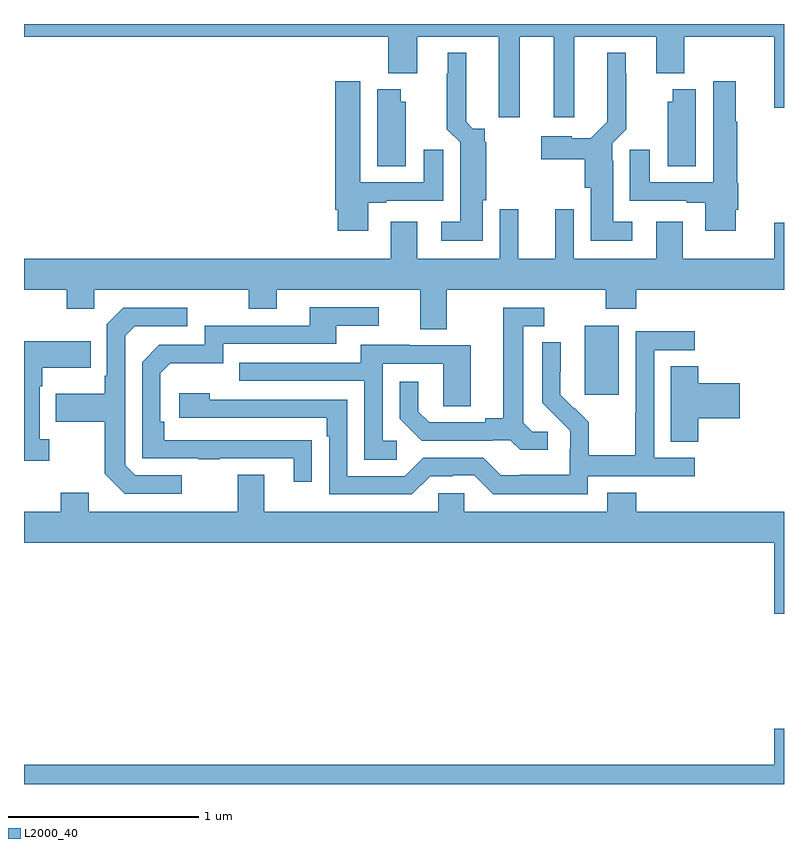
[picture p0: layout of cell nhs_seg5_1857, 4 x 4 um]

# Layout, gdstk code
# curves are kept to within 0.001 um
import gdstk
lib = gdstk.Library(unit=1e-6, precision=1e-09)
def R(c, l, rs):  # rectangles x0, y0, x1, y1
    for r in rs: c.add(gdstk.rectangle(r[:2], r[2:], *l))
def P(c, l, *ps):  # polygons
    for p in ps: c.add(gdstk.Polygon(p, *l))
L2000_40 = (2000, 40)

nhs_seg5_1857 = lib.new_cell('nhs_seg5_1857')
R(nhs_seg5_1857, L2000_40, [(223.952,882.849,224.131,883.21)])
P(nhs_seg5_1857, L2000_40, [(221,884.732),(222.917,884.732),(222.917,884.54),(223.069,884.54),(223.069,884.732),(223.499,884.732),(223.499,884.307),(223.609,884.307),(223.609,884.732),(223.787,884.732),(223.787,884.307),(223.897,884.307),(223.897,884.732),(224.327,884.732),(224.327,884.54),(224.475,884.54),(224.475,884.732),(224.948,884.732),(224.948,884.358),(225,884.358),(225,884.799),(221,884.799)],
  [(223.414,883.872),(223.432,883.872),(223.432,884.177),(223.426,884.183),(223.426,884.248),(223.362,884.248),(223.327,884.284),(223.327,884.647),(223.229,884.647),(223.229,884.537),(223.225,884.537),(223.225,884.246),(223.295,884.176),(223.295,883.759),(223.197,883.759),(223.197,883.658),(223.414,883.658)],
  [(224.2,883.759),(224.101,883.759),(224.101,884.078),(224.097,884.078),(224.097,884.172),(224.171,884.246),(224.171,884.537),(224.167,884.537),(224.167,884.647),(224.069,884.647),(224.07,884.284),(223.983,884.197),(223.884,884.197),(223.884,884.209),(223.722,884.209),(223.722,884.087),(223.952,884.087),(223.952,883.938),(223.982,883.938),(223.982,883.658),(224.2,883.658)],
  [(224.746,883.822),(224.759,883.822),(224.759,883.962),(224.754,883.962),(224.754,884.284),(224.746,884.284),(224.746,884.497),(224.627,884.497),(224.627,883.965),(224.293,883.965),(224.293,884.137),(224.189,884.137),(224.189,883.869),(224.489,883.869),(224.489,883.857),(224.585,883.857),(224.585,883.71),(224.746,883.71)],
  [(222.811,883.857),(222.907,883.857),(222.907,883.869),(223.207,883.869),(223.207,884.137),(223.103,884.137),(223.103,883.965),(222.769,883.965),(222.769,884.497),(222.638,884.497),(222.638,883.822),(222.65,883.822),(222.65,883.71),(222.811,883.71)],
  [(223.009,884.391),(222.982,884.391),(222.982,884.455),(222.86,884.455),(222.86,884.05),(223.009,884.05)],
  [(224.536,884.455),(224.414,884.455),(224.414,884.391),(224.387,884.391),(224.387,884.05),(224.536,884.05)],
  [(223.225,883.4),(224.062,883.4),(224.062,883.301),(224.222,883.301),(224.222,883.4),(225,883.4),(225,883.753),(224.948,883.753),(224.948,883.564),(224.467,883.564),(224.467,883.759),(224.327,883.759),(224.327,883.564),(223.893,883.564),(223.893,883.825),(223.796,883.825),(223.796,883.564),(223.601,883.564),(223.601,883.825),(223.503,883.825),(223.503,883.564),(223.069,883.564),(223.069,883.759),(222.929,883.759),(222.929,883.564),(221,883.564),(221,883.4),(221.224,883.4),(221.224,883.301),(221.37,883.301),(221.37,883.4),(222.184,883.4),(222.184,883.301),(222.331,883.301),(222.331,883.4),(223.085,883.4),(223.085,883.192),(223.225,883.192)],
  [(222.515,882.608),(221.738,882.609),(221.738,882.706),(221.718,882.706),(221.718,882.96),(221.771,883.013),(222.048,883.013),(222.048,883.116),(222.643,883.116),(222.643,883.212),(222.868,883.212),(222.868,883.308),(222.503,883.308),(222.503,883.212),(221.952,883.212),(221.952,883.11),(221.712,883.11),(221.622,883.02),(221.622,882.513),(221.917,882.513),(221.917,882.508),(222.029,882.508),(222.029,882.513),(222.419,882.513),(222.419,882.39),(222.515,882.39)],
  [(221.83,882.423),(221.586,882.423),(221.532,882.477),(221.532,883.158),(221.583,883.209),(221.86,883.209),(221.86,883.305),(221.523,883.305),(221.436,883.218),(221.436,882.949),(221.424,882.949),(221.424,882.853),(221.167,882.853),(221.167,882.706),(221.424,882.706),(221.424,882.433),(221.529,882.327),(221.83,882.327)],
  [(223.756,882.654),(223.674,882.654),(223.627,882.701),(223.627,883.209),(223.738,883.209),(223.738,883.305),(223.523,883.305),(223.523,882.725),(223.427,882.725),(223.427,882.702),(223.132,882.702),(223.075,882.759),(223.075,882.916),(222.978,882.916),(222.978,882.722),(223.094,882.606),(223.466,882.606),(223.466,882.609),(223.56,882.609),(223.612,882.557),(223.756,882.557)],
  [(223.968,882.42),(224.53,882.42),(224.53,882.516),(224.316,882.516),(224.316,883.083),(224.53,883.083),(224.53,883.182),(224.22,883.182),(224.22,882.752),(224.218,882.752),(224.218,882.529),(223.973,882.529),(223.973,882.703),(223.896,882.78),(223.893,882.777),(223.823,882.848),(223.824,883.124),(223.728,883.124),(223.728,882.806),(223.874,882.658),(223.874,882.561),(223.872,882.561),(223.872,882.427),(223.609,882.427),(223.609,882.423),(223.509,882.423),(223.416,882.516),(223.101,882.516),(223.005,882.42),(222.702,882.42),(222.702,882.822),(221.978,882.822),(221.978,882.856),(221.817,882.856),(221.817,882.726),(222.593,882.726),(222.593,882.629),(222.606,882.629),(222.606,882.324),(223.041,882.324),(223.137,882.42),(223.256,882.42),(223.256,882.423),(223.371,882.423),(223.471,882.323),(223.968,882.323)],
  [(221.134,882.614),(221.082,882.614),(221.082,882.893),(221.095,882.893),(221.095,882.989),(221.351,882.989),(221.351,883.129),(221,883.129),(221,882.501),(221.134,882.501)],
  [(222.961,882.606),(222.888,882.606),(222.888,883.011),(223.206,883.011),(223.206,882.787),(223.351,882.787),(223.351,883.107),(223.027,883.107),(223.027,883.111),(222.773,883.111),(222.773,883.017),(222.133,883.017),(222.133,882.921),(222.792,882.921),(222.792,882.505),(222.961,882.505)],
  [(224.549,882.725),(224.767,882.725),(224.767,882.908),(224.549,882.908),(224.549,882.998),(224.405,882.998),(224.405,882.601),(224.549,882.601)],
  [(225,882.232),(224.222,882.232),(224.222,882.331),(224.069,882.331),(224.069,882.232),(223.317,882.232),(223.317,882.33),(223.179,882.33),(223.179,882.232),(222.265,882.232),(222.265,882.427),(222.125,882.427),(222.125,882.232),(221.341,882.232),(221.341,882.331),(221.194,882.331),(221.194,882.232),(221,882.232),(221,882.068),(224.948,882.068),(224.948,881.694),(225,881.694)],
  [(225,881.089),(224.948,881.089),(224.948,880.9),(221,880.9),(221,880.799),(225,880.799)])

lib.write_gds('nhs_seg5_1857.gds')
